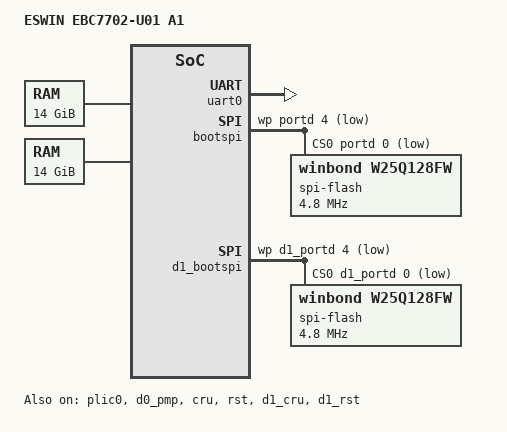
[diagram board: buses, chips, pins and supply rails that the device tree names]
// SPDX-License-Identifier: GPL-2.0
/*
 * Device Tree file for Eswin EIC7700 SoC.
 *
 * Copyright 2024, Beijing ESWIN Computing Technology Co., Ltd.. All rights reserved.
 * SPDX-License-Identifier: GPL-2.0
 *
 * This program is free software: you can redistribute it and/or modify
 * it under the terms of the GNU General Public License as published by
 * the Free Software Foundation, version 2.
 *
 * This program is distributed in the hope that it will be useful,
 * but WITHOUT ANY WARRANTY; without even the implied warranty of
 * MERCHANTABILITY or FITNESS FOR A PARTICULAR PURPOSE.  See the
 * GNU General Public License for more details.
 *
 * You should have received a copy of the GNU General Public License
 * along with this program.  If not, see <https://www.gnu.org/licenses/>.
 */

#include <dt-bindings/gpio/gpio.h>
#include <dt-bindings/soc/eswin-pmp.h>
#include "eic770x.dtsi"
#include "dt-bindings/media/eswin_mipi_dsi.h"
#include "media_bus_format.h"
/ {
	#address-cells = <2>;
	#size-cells = <2>;
	model = "ESWIN EBC7702-U01 A1";


	aliases {
		serial0 = &uart0;
		i2c0 = &i2c0;
		i2c1 = &i2c1;
		i2c2 = &i2c2;
		i2c3 = &i2c3;
		i2c4 = &i2c4;
		i2c5 = &i2c5;
		i2c6 = &i2c6;
		i2c7 = &i2c7;
		i2c8 = &i2c8;
		i2c9 = &i2c9;
		i2c11 = &i2c11;
		i2c12 = &i2c12;
		gpio0 = &gpio0;
		spi0 = &bootspi;
		spi1 = &dw_spi0;
		spi2 = &d1_bootspi;
	};

	chosen {
		stdout-path = "serial0";
	};

	memory@80000000 {
		device_type = "memory";
		reg = <0x0 0x80000000 0x3 0x80000000>;
		numa-node-id = <0>;
	};

	memory@2000000000 {
		device_type = "memory";
		reg = <0x20 0x00000000 0x3 0x80000000>;
		numa-node-id = <1>;
	};

	reserved-memory {
		#address-cells = <2>;
		#size-cells = <2>;
		ranges;

		display_reserved: region@E0000000 {
			reg = <0x0 0xE0000000 0x0 0x2000000>;
			no-map;
		};

		lpcpu_reserved: lpcpures@DFFE0000 {
			reg = <0x00 0xDFFE0000 0x00 0x00020000>;
			no-map;
		};

		d1_display_reserved: region@20e0000000 {
			reg = <0x20 0xE0000000 0x0 0x2000000>;
			no-map;
		};
	};
	soc {
		#address-cells = <2>;
		#size-cells = <2>;
		compatible = "SiFive,FU800-soc", "fu800-soc", "sifive-soc", "simple-bus";
		ranges;
	};
	leds {
		compatible = "gpio-leds";
		pinctrl-names = "default";
	};

};
&cpu0 {
	status = "okay";
};
&cpu1 {
	status = "okay";
};
&cpu2 {
	status = "okay";
};
&cpu3 {
	status = "okay";
};
&cpu4 {
	status = "okay";
};
&cpu5 {
	status = "okay";
};
&cpu6 {
	status = "okay";
};
&cpu7 {
	status = "okay";
};
&plic0{
	status = "okay";
};
&d0_mbox {
	status = "okay";
};
&d0_mbox_srvc {
	status = "okay";
};
&d0_mbox1 {
	status = "okay";
};
&d0_mbox_srvc1 {
	status = "okay";
};
&d1_mbox1 {
	status = "okay";
};
&d1_mbox_srvc1 {
	status = "okay";
};
&d0_pmp {
	status = "okay";
};
&uart0 {
	status = "okay";
};
&uart1 {
	status = "disabled";
};
&cru {
	status = "okay";
};
&rst {
	status = "okay";
};
&d1_cru {
	status = "okay";
};
&d1_rst {
	status = "okay";
};
&bootspi {
	status = "okay";
	cs-gpios = <&portd 0 GPIO_ACTIVE_LOW>;
	wp-gpios = <&portd 4 GPIO_ACTIVE_LOW>;
	spi-flash@0 {
		reg = <0>;
		compatible = "winbond,w25q128fw",
			"jedec,spi-nor";
		spi-max-frequency = <4800000>;
	};
};

&d1_bootspi{
	status = "okay";
	cs-gpios = <&d1_portd 0 GPIO_ACTIVE_LOW>;
	wp-gpios = <&d1_portd 4 GPIO_ACTIVE_LOW>;
	spi-flash@0 {
		reg = <0>;
		compatible = "winbond,w25q128fw",
			"jedec,spi-nor";
		spi-max-frequency = <4800000>;
	};
};

&sdhci_emmc {
	status = "disabled";
	delay_code = <0x50>;
	drive-impedance-ohm = <33>;
	enable-cmd-pullup;
	enable-data-pullup;
	mmc-hs200-1_8v;
	mmc-hs400-1_8v;
};

&sd {
	status = "disabled";
	delay_code = <0x55>;
	drive-impedance-ohm = <33>;
	enable-cmd-pullup;
	enable-data-pullup;
};

&d1_sdhci_emmc {
	status = "disabled";
	delay_code = <0x55>;
	drive-impedance-ohm = <50>;
	enable-cmd-pullup;
	enable-data-pullup;
	mmc-hs200-1_8v;
	mmc-hs400-1_8v;
};

&d1_sdio0 {
        status = "disabled";
};

&eswin_sata {
	status = "disabled";
};

&eth0 {
	status = "disabled";
};

&eth1 {
	status = "disabled";
};

&pcie {
	status = "disabled";
};
&display_logo {
	status = "disabled";
};
&mipi_dsi {
	status = "disabled";
};
&d1_mipi_dsi {
	status = "disabled";
};
&dwc3_typec0 {
	status = "disabled";
};
&usb0 {
	status = "disabled";
};
&usb1 {
	status = "disabled";
};
&d1_usb0 {
	status = "disabled";
};
&d1_usb1 {
	status = "disabled";
};

&hdmi {
	status = "disabled";
};
&d1_hdmi {
	status = "disabled";
};
&display_subsystem {
	status = "disabled";
};
&d1_display_subsystem {
	double-screen = <1>;
	status = "disabled";
};
&route_hdmi {
	status = "disabled";
};
&d1_route_hdmi {
	status = "disabled";
};
&route_mipi {
	status = "disabled";
};
&d1_route_mipi {
	status = "disabled";
};
&osd {
	status = "disabled";
};
&d1_osd {
	status = "disabled";
};
&i2c0 {
	status = "disabled";
};
&i2c2 {
	status = "disabled";
};
&i2c3 {
	status = "disabled";
};
&i2c11 {
	status = "disabled";
};

&gpio0 {
	status = "okay";
};

&d1_gpio {
	status = "okay";
};

&pinctrl {
	status = "okay";
};

&d1_pinctrl {
	status = "okay";
};
